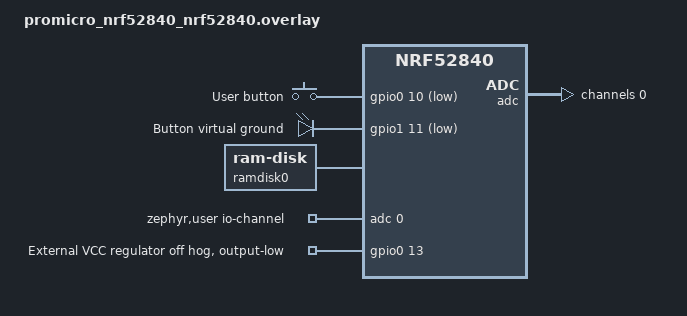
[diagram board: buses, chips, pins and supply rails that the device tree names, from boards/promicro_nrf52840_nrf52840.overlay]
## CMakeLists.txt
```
cmake_minimum_required(VERSION 3.20.0)

find_package(Zephyr REQUIRED HINTS $ENV{ZEPHYR_BASE})
project(totp-token)

if(CONFIG_BUILD_OUTPUT_UF2)
  if(NOT CONFIG_TOTP_SECURITY_BOOTLOADER)
    message(FATAL_ERROR "UF2 requires the security bootloader/provisioning gate.")
  endif()
  if(NOT CONFIG_TOTP_UF2_BENCH AND
     (CONFIG_TOTP_DEBUG OR CONFIG_TOTP_TEST_POLL OR NOT CONFIG_NRF_APPROTECT_LOCK))
    message(FATAL_ERROR "Protected UF2 requires conf/uf2-production.conf.")
  endif()
  set(boot_output ${CMAKE_CURRENT_BINARY_DIR}/security-bootloader)
  set(boot_options)
  if(CONFIG_TOTP_UF2_BENCH)
    list(APPEND boot_options --unlocked)
  endif()
  add_custom_command(
    OUTPUT ${boot_output}/bootloader_payload.S ${boot_output}/bootloader.bin
    BYPRODUCTS ${boot_output}/bootloader.elf ${boot_output}/bootloader.map
      ${boot_output}/bootloader.json
    COMMAND sh ${CMAKE_CURRENT_SOURCE_DIR}/tools/run-limited.sh --seconds 90
      ${PYTHON_EXECUTABLE} ${CMAKE_CURRENT_SOURCE_DIR}/tools/uf2/build_bootloader.py
      --cc ${CMAKE_C_COMPILER} --objcopy ${CMAKE_OBJCOPY}
      --output ${boot_output} ${boot_options}
    DEPENDS tools/uf2/build_bootloader.py tools/run-limited.sh
      bootloader/startup.S bootloader/main.c bootloader/boot.c bootloader/boot.h
      bootloader/factory.c
      bootloader/reset_marker.h
      bootloader/sha256.c bootloader/sha256.h bootloader/svc.S
      bootloader/runtime.c bootloader/linker.ld
    VERBATIM)
  target_include_directories(app PRIVATE bootloader)
  target_sources(app PRIVATE src/uf2_layout.c src/boot_security.c
    bootloader/boot.c bootloader/factory.c bootloader/sha256.c bootloader/svc.S
    ${boot_output}/bootloader_payload.S)
  add_custom_target(totp_validate_uf2 ALL
    COMMAND sh ${CMAKE_CURRENT_SOURCE_DIR}/tools/run-limited.sh
      ${PYTHON_EXECUTABLE}
      ${CMAKE_CURRENT_SOURCE_DIR}/tools/uf2/validate.py
      ${PROJECT_BINARY_DIR}/zephyr/zephyr.uf2
    DEPENDS zephyr_final
    VERBATIM)
endif()

target_sources(app PRIVATE
  src/main.c
  src/keyboard.c
  src/totp.c
  src/usb_msc.c
  src/usb_power_replay.c
  src/config.c
  src/config_fs.c
  src/profiles.c
  src/time.c
  src/button.c
)

zephyr_link_libraries(-Wl,--wrap=nrfx_power_usbevt_init)

if(CONFIG_TOTP_BATTERY_MONITOR)
  target_sources(app PRIVATE src/battery.c)
endif()
```

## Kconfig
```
# Application-specific configuration options.
# The application Kconfig becomes the root; source the Zephyr tree first.

source "Kconfig.zephyr"

config TOTP_UF2_BENCH
	bool "Unprotected UF2 bring-up image (test secrets only)"
	default n
	depends on BUILD_OUTPUT_UF2
	help
	  Installs the SRAM-wiping bootloader but leaves debug protection unlocked
	  for hardware acceptance. Never provision real secrets with this option.

config TOTP_SECURITY_BOOTLOADER
	bool "Install the SRAM-wiping security bootloader before provisioning"
	default y if BUILD_OUTPUT_UF2
	depends on BUILD_OUTPUT_UF2
	help
	  Captures the compatible factory bootloader, installs the independent
	  security bootloader using MBR COPY_BL, and persistently locks SWD.
	  TOTP_UF2_BENCH explicitly disables locking during bench acceptance.

config TOTP_POWER_DIAGNOSTIC
	bool "Quiet idle followed by System OFF (power isolation only)"
	default n
	depends on TOTP_UF2_BENCH
	select POWEROFF
	help
	  After the bootloader verification gate, leave the LED off and sleep
	  for 60 seconds without starting Bluetooth, USB configuration, battery
	  sampling, or button handling, then enter System OFF. No secrets can be
	  provisioned. Reset wakes the board; factory recovery remains available.

config TOTP_USB_PID
	hex "USB product ID (default is private testing only)"
	range 0x0001 0xffff
	default 0x0001
	help
	  The default VID:PID 1209:0001 is the shared pid.codes private-test ID.
	  It is not unique and must not be used for redistributed binaries or
	  manufactured devices. Set an allocated PID before a public release.

config TOTP_TEST_POLL
	bool "Enable SWD button-emulation poll (debug)"
	default y
	help
	  Samples the SWD-settable dbg_force_press flag so button presses can be
	  injected via pyocd without a physical button. This adds a 20 ms periodic
	  poll that defeats the low-power interrupt path. Disable for production.

config TOTP_DEBUG
	bool "Debug hooks: built-in test config + SWD reload"
	default y
	help
	  Enables debug-only facilities: a hardcoded test config with a fixed time
	  (load_test_config) so the device works without a USB config, the
	  dbg_reload_config SWD hook to re-load it, and a longer connect timeout.
	  Disable for production: the device then boots unconfigured and relies on
	  the config.ini written over USB.

config TOTP_MAX_BONDS
	int "Maximum number of RAM-backed host profiles"
	range 1 4
	default 4
	help
	  Sets the number of BLE bonds for which the application reserves a
	  RAM-only secret profile. This must match BT_MAX_PAIRED. Values below four
	  are intended for capacity-limit testing; normal builds use four.

config TOTP_BATTERY_MONITOR
	bool "Battery voltage monitoring (SAADC VDDH/5)"
	default y
	help
	  Samples the battery voltage via the SAADC internal VDDH/5 input (VDDH is
	  the battery rail on this board) and reports it in the config dump. Used to
	  slow code typing when the battery is low as a charge reminder.
```

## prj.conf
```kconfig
# TapShard BLE-HID TOTP token — application configuration

# --- Flash via SWD, no UF2 bootloader ---
CONFIG_BOARD_HAS_NRF5_BOOTLOADER=n

# --- GPIO (LED + button) ---
CONFIG_GPIO=y

# --- Battery monitoring via SAADC VDDH/5 ---
CONFIG_ADC=y
CONFIG_ADC_NRFX_SAADC=y
CONFIG_TOTP_BATTERY_MONITOR=y

# --- Bluetooth ---
CONFIG_BT=y
CONFIG_BT_PERIPHERAL=y
CONFIG_BT_SMP=y
CONFIG_BT_FILTER_ACCEPT_LIST=y
CONFIG_BT_DEVICE_NAME="TapShard TOTP token"
CONFIG_BT_DEVICE_APPEARANCE=961

# --- Bonding persistence (pairing survives reboot) ---
CONFIG_BT_SETTINGS=y
CONFIG_FLASH=y
CONFIG_FLASH_MAP=y
CONFIG_NVS=y
CONFIG_SETTINGS=y

# --- Pairing: Just Works (no MITM/passkey) ---
CONFIG_BT_SMP_ENFORCE_MITM=n
# Allow re-pairing over a stale Just-Works bond (host forgot the device, but
# the device still has the old unauth bond). Without this, re-pairing fails
# with BT_SECURITY_ERR_AUTH_REQUIREMENT ("wrong pin").
CONFIG_BT_SMP_ALLOW_UNAUTH_OVERWRITE=y

# --- SWD button-emulation poll (debug; disabled by default, re-enable for bench
#     testing without a physical button) ---
CONFIG_TOTP_TEST_POLL=y

# --- Debug hooks: built-in test config + SWD reload (disable for production) ---
CONFIG_TOTP_DEBUG=y

# --- Allow re-pairing (bond replacement needs a free key slot) ---
CONFIG_TOTP_MAX_BONDS=4
CONFIG_BT_MAX_PAIRED=4

# --- More ATT/L2CAP TX buffers (HID reports burst; default 3 is too few,
#     and the notify path allocates non-blocking from the sys workqueue) ---
CONFIG_BT_BUF_ACL_TX_COUNT=32
CONFIG_BT_BUF_EVT_RX_COUNT=40
CONFIG_BT_ATT_TX_COUNT=32
CONFIG_BT_L2CAP_TX_BUF_COUNT=32

# --- Stack for settings API + FatFs config reading in workqueue ---
CONFIG_SYSTEM_WORKQUEUE_STACK_SIZE=8192

# --- Power: use low-frequency crystal for BLE (board default is XTAL) ---
# (no override needed; LFXO is the default and is populated on this board)

# --- Crypto for TOTP (HMAC-SHA1 via PSA) ---
CONFIG_PSA_WANT_ALG_SHA_1=y
CONFIG_PSA_WANT_ALG_HMAC=y
CONFIG_PSA_WANT_KEY_TYPE_HMAC=y

# --- System heap (required by mbedtls/PSA crypto allocations) ---
CONFIG_HEAP_MEM_POOL_SIZE=32768

# --- Main thread stack (PSA crypto HMAC is stack-heavy) ---
CONFIG_MAIN_STACK_SIZE=8192

# --- USB Mass Storage (new usbd stack) for config ---
CONFIG_USB_DEVICE_STACK_NEXT=y
CONFIG_USBD_MSC_CLASS=y
CONFIG_DISK_DRIVER_RAM=y

# --- FAT file system (device reads the config) ---
CONFIG_FILE_SYSTEM=y
CONFIG_FAT_FILESYSTEM_ELM=y
CONFIG_FILE_SYSTEM_MKFS=y
CONFIG_FS_FATFS_MKFS=y
# Long filenames so config.ini is stored with its lowercase name (short 8.3
# names are uppercase-only).
CONFIG_FS_FATFS_LFN=y
# Enable file timestamps; get_fattime() (config_fs.c) returns 1980-01-01 so
# device-written files never look like a valid clock anchor.
CONFIG_FS_FATFS_HAS_RTC=y

# --- Disable the board's default CDC-ACM serial backend ---
CONFIG_BOARD_SERIAL_BACKEND_CDC_ACM=n
CONFIG_USBD_CDC_ACM_CLASS=n
CONFIG_CDC_ACM_SERIAL_INITIALIZE_AT_BOOT=n
```

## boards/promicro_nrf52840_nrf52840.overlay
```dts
/*
 * TOTP BLE-HID token — board overlay for promicro_nrf52840
 *
 * The user button is wired between two adjacent GPIOs (no GND at that spot):
 *   - btn_sense : input with internal pull-up (reads LOW when pressed)
 *   - btn_vgnd  : output driven LOW ("virtual ground")
 *
 * Button wiring: P0.10 sense input and P1.11 virtual ground.
 */

/ {
	buttons {
		compatible = "gpio-keys";
		btn0: btn_0 {
			gpios = <&gpio0 10 (GPIO_PULL_UP | GPIO_ACTIVE_LOW)>;
			label = "User button";
		};
	};

	virtual_gnd {
		compatible = "gpio-leds";
		btn_vgnd: btn_vgnd_pin {
			gpios = <&gpio1 11 GPIO_ACTIVE_LOW>;
			label = "Button virtual ground";
		};
	};

	chosen {
		/* Console over UART0 instead of the disabled CDC-ACM. */
		zephyr,console = &uart0;
		zephyr,shell-uart = &uart0;
	};

	/* RAM disk backing the USB Mass Storage config volume (volatile). */
	ramdisk0 {
		compatible = "zephyr,ram-disk";
		disk-name = "RAM";
		sector-size = <512>;
		sector-count = <128>;
	};

	/* Battery voltage via the SAADC internal VDDH/5 input. On this board
	 * VDDH is the battery rail, so VDDH/5 gives the battery voltage (÷5);
	 * it rises toward 5 V while USB is plugged. */
	zephyr,user {
		io-channels = <&adc 0>;
	};
};

&adc {
	#address-cells = <1>;
	#size-cells = <0>;

	channel@0 {
		reg = <0>;
		zephyr,gain = "ADC_GAIN_1_2";
		zephyr,reference = "ADC_REF_INTERNAL";
		zephyr,acquisition-time = <ADC_ACQ_TIME_DEFAULT>;
		zephyr,input-positive = <NRF_SAADC_VDDHDIV5>;
		zephyr,resolution = <14>;
	};
};

/* Button edges must use GPIO SENSE/PORT, not a GPIOTE IN channel which keeps
 * the high-frequency peripheral clock running while the device is idle. */
&gpio0 {
	sense-edge-mask = <0x00000400>; /* P0.10: btn0 sense input. */

	/* P0.13 controls only the external VCC regulator, not the MCU supply.
	 * Its board pull-up otherwise leaves the unused regulator enabled.
	 * Configure it before main(), including diagnostic/System OFF builds.
	 */
	extvcc_off: extvcc-off {
		gpio-hog;
		gpios = <13 GPIO_ACTIVE_HIGH>;
		output-low;
		line-name = "External VCC regulator off";
	};
};

/* Board defaults to a CDC-ACM serial function on the USB device; disable it. */
&board_cdc_acm_uart {
	status = "disabled";
};
```

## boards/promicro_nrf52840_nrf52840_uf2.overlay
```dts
/* Application-only UF2 layout; the existing MBR/S140 are not build outputs. */
#include "promicro_nrf52840_nrf52840.overlay"

/* Public marker uses the final 16 bytes. Zephyr's ARM linker uses KiB units,
 * so exclude the whole final KiB from app allocations/stacks. The independent
 * boot linker excludes only the marker. The wipe still covers all 256 KiB. */
&sram0 {
	reg = <0x20000000 0x3fc00>;
	ranges = <0x0 0x20000000 0x3fc00>;
};

&code_partition {
	reg = <0x26000 0xba000>;
};

&boot_partition {
	reg = <0xf4000 0xa000>;
};

&flash0 {
	partitions {
		factory_backup_partition: partition@e0000 {
			label = "factory-backup";
			reg = <0xe0000 0xc000>;
		};

		mbr_params_partition: partition@fe000 {
			label = "mbr-params";
			reg = <0xfe000 0x1000>;
			read-only;
		};

		boot_settings_partition: partition@ff000 {
			label = "boot-settings";
			reg = <0xff000 0x1000>;
			read-only;
		};
	};
};
```

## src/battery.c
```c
/*
 * Battery voltage monitoring via the SAADC internal VDDH/5 input.
 *
 * On this board (Pro Micro nRF52840 / SuperMini clone) VDDH is the battery
 * rail, so VDDH/5 reflects the battery voltage (÷5). While USB is plugged the
 * charger raises VDDH toward 5 V, so samples are only cached while unplugged;
 * the last on-battery reading is kept for the config dump.
 *
 * A single SAADC sample is a few milliseconds of CPU, so a 10-minute cadence
 * adds a negligible average current to the ~3 uA sleep budget.
 */

#include <string.h>

#include <zephyr/kernel.h>
#include <zephyr/devicetree.h>
#include <zephyr/drivers/adc.h>
#include <zephyr/sys/printk.h>

#include "battery.h"

/* First sample shortly after boot, then every 10 minutes. */
#define BATTERY_FIRST_SAMPLE_MS 5000
#define BATTERY_SAMPLE_MS       (10 * 60 * 1000)
/* Settle time after USB unplug before resampling (VDDH drops from VBUS to the
 * battery rail through the load switch). */
#define BATTERY_RESAMPLE_MS     500

/* Battery-rail divisor baked into the SAADC VDDH/5 input. */
#define VDDH_DIVISOR 5u

static const struct adc_dt_spec battery_adc =
	ADC_DT_SPEC_GET_BY_IDX(DT_PATH(zephyr_user), 0);

static uint32_t battery_mv_cache;
static bool battery_measured;
static bool usb_present;
static uint32_t low_threshold_mv = 3500;

static struct k_work_delayable battery_work;

/* Debug (SWD): raw ADC count and the VDDH/5 input in millivolts of the last
 * sample, taken regardless of USB state so the raw value can be inspected
 * while charging. */
volatile int dbg_battery_raw;
volatile int dbg_battery_input_mv;

static void battery_sample_work(struct k_work *work)
{
	uint32_t buf = 0;
	struct adc_sequence seq = {
		.buffer = &buf,
		.buffer_size = sizeof(buf),
	};

	(void)adc_sequence_init_dt(&battery_adc, &seq);
	if (adc_read_dt(&battery_adc, &seq) == 0) {
		int32_t val_mv = (int32_t)(int16_t)buf;

		dbg_battery_raw = (int)val_mv;
		if (adc_raw_to_millivolts_dt(&battery_adc, &val_mv) == 0) {
			dbg_battery_input_mv = (int)val_mv;
			if (!usb_present) {
				battery_mv_cache =
					(uint32_t)val_mv * VDDH_DIVISOR;
				battery_measured = true;
			}
		}
	}

	k_work_reschedule(&battery_work, K_MSEC(BATTERY_SAMPLE_MS));
}

void battery_set_usb_present(bool present)
{
	usb_present = present;
}

void battery_resample(void)
{
	k_work_reschedule(&battery_work, K_MSEC(BATTERY_RESAMPLE_MS));
}

void battery_set_low_threshold(uint32_t mv)
{
	low_threshold_mv = mv;
}

uint32_t battery_mv(void)
{
	return battery_measured ? battery_mv_cache : 0;
}

bool battery_is_measured(void)
{
	return battery_measured;
}

bool battery_is_low(void)
{
	return battery_measured && battery_mv_cache < low_threshold_mv;
}

void battery_init(void)
{
	if (!adc_is_ready_dt(&battery_adc)) {
		printk("Battery ADC not ready\n");
		return;
	}
	(void)adc_channel_setup_dt(&battery_adc);

	k_work_init_delayable(&battery_work, battery_sample_work);
	k_work_reschedule(&battery_work, K_MSEC(BATTERY_FIRST_SAMPLE_MS));
}
```

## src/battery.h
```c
/* Battery voltage monitoring — public API */

#ifndef BATTERY_H
#define BATTERY_H

#include <stdint.h>
#include <stdbool.h>

/* Initialize and start periodic battery sampling. */
void battery_init(void);

/* Notify of the USB power state: samples taken while USB is present are
 * inflated (VDDH rises toward 5 V), so they are not cached. */
void battery_set_usb_present(bool present);

/* Schedule a fresh sample shortly (used on USB unplug so the cached voltage
 * reflects the battery right away rather than up to one sample interval later). */
void battery_resample(void);

/* Set the low-battery threshold (mV). */
void battery_set_low_threshold(uint32_t mv);

/* Last cached on-battery voltage in mV, or 0 if never measured. */
uint32_t battery_mv(void);

/* True once a valid on-battery sample has been taken. */
bool battery_is_measured(void);

/* True if the battery is measured and below the low threshold. */
bool battery_is_low(void);

#endif /* BATTERY_H */
```

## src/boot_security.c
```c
/* SPDX-License-Identifier: MIT */
#include <stddef.h>
#include <zephyr/kernel.h>

#include "boot_security.h"
#include "boot.h"
#include "sha256.h"

extern const uint8_t totp_boot_payload[BOOT_SIZE];
extern const uint8_t totp_boot_digest[32];

/* Bench observability: 1 layout, 2 backup, 3 MBR copy, 4 active verify,
 * 5 persistent lock, 6 ready. Failures are negative. No secret values. */
volatile int dbg_boot_stage;
#if CONFIG_TOTP_UF2_BENCH
/* Transaction checkpoints for destructive SWD fault injection, bench only. */
volatile int dbg_boot_backup_page;
#define BACKUP_CHECKPOINT(step) (dbg_boot_backup_page = (step))
#else
#define BACKUP_CHECKPOINT(step) do { } while (0)
#endif

static bool capture_factory(void)
{
	struct boot_metadata metadata = {
		.magic = BOOT_META_MAGIC, .version = 1,
		.source = BOOT_START, .length = BOOT_SIZE,
		.valid = UINT32_MAX,
	};
	unsigned int key = irq_lock();
	bool good = boot_flash_erase(BOOT_METADATA);

	BACKUP_CHECKPOINT(0);

	/* Invalidate the old metadata before touching any backup payload page. */
	for (uint32_t offset = 0; good && offset < BOOT_SIZE; offset += BOOT_PAGE) {
		good = boot_flash_erase(BOOT_BACKUP + offset) &&
			boot_flash_write(BOOT_BACKUP + offset,
				(const void *)(BOOT_START + offset), BOOT_PAGE);
		BACKUP_CHECKPOINT(1 + offset / BOOT_PAGE);
	}
	irq_unlock(key);
	if (!good) {
		return false;
	}
	boot_sha256((const void *)BOOT_START, BOOT_SIZE, metadata.sha256);
	/* Check copied bytes against the active image before committing metadata. */
	uint8_t copied_digest[32];

	boot_sha256((const void *)BOOT_BACKUP, BOOT_SIZE, copied_digest);
	if (!boot_factory_valid((const void *)BOOT_BACKUP) ||
	    !boot_equal(copied_digest, metadata.sha256, sizeof(copied_digest))) {
		return false;
	}
	key = irq_lock();
	good = boot_flash_write(BOOT_METADATA, &metadata,
				offsetof(struct boot_metadata, valid));
	BACKUP_CHECKPOINT(11);
	if (good) {
		uint32_t valid = BOOT_META_VALID;

		good = boot_flash_write(BOOT_METADATA +
				offsetof(struct boot_metadata, valid), &valid, sizeof(valid));
		BACKUP_CHECKPOINT(12);
	}
	irq_unlock(key);
	return good && boot_backup_valid();
}

static uint32_t install(void)
{
	/* COPY_BL is entered through the real MBR SVC vector, before the radio or
	 * USB starts. Restore Zephyr's interrupt state if MBR rejects the request. */
	unsigned int key = irq_lock();
	uint32_t vtor = BOOT_REG(0xe000ed08);
	uint32_t forwarding = BOOT_REG(0x20000000);
	uint32_t enabled[2] = { BOOT_REG(0xe000e100), BOOT_REG(0xe000e104) };
	uint32_t systick = BOOT_REG(0xe000e010);

	boot_mbr_prepare();
	uint32_t result = boot_copy((uint32_t)(uintptr_t)totp_boot_payload);

	__asm volatile("cpsid i" ::: "memory");
	BOOT_REG(0xe000ed08) = vtor;
	BOOT_REG(0x20000000) = forwarding;
	BOOT_REG(0xe000e100) = enabled[0];
	BOOT_REG(0xe000e104) = enabled[1];
	BOOT_REG(0xe000e010) = systick;
	__asm volatile("dsb\n isb" ::: "memory");
	irq_unlock(key);
	return result;
}

const char *boot_security_init(void)
{
	uint8_t digest[32];

	dbg_boot_stage = 1;
	BACKUP_CHECKPOINT(-1);
	if (!boot_layout_valid()) {
		dbg_boot_stage = -1;
		return "Unsupported flash/MBR/S140 layout. No secrets accepted.\n";
	}
	if (BOOT_GPREGRET2 == BOOT_RECOVERY_FAILED) {
		BOOT_GPREGRET2 = 0;
		dbg_boot_stage = -2;
		return "Recovery backup is invalid or restore failed. No secrets accepted.\n";
	}
	boot_sha256(totp_boot_payload, BOOT_SIZE, digest);
	if (!boot_equal(digest, totp_boot_digest, sizeof(digest)) ||
	    ((uintptr_t)totp_boot_payload & (BOOT_PAGE - 1))) {
		dbg_boot_stage = -3;
		return "Embedded security bootloader is invalid. No secrets accepted.\n";
	}
	boot_sha256((const void *)BOOT_START, BOOT_SIZE, digest);
	bool installed = boot_equal(digest, totp_boot_digest, sizeof(digest));

	dbg_boot_stage = 2;
	if (!installed && !boot_factory_valid((const void *)BOOT_START)) {
		dbg_boot_stage = -4;
		return "Active bootloader is not a compatible factory image. No secrets accepted.\n";
	}
	bool backup_valid = boot_backup_valid();
	bool capture_needed = !backup_valid ||
		!boot_equal(digest, ((const struct boot_metadata *)BOOT_METADATA)->sha256,
			    sizeof(digest));

	/* If a user updated the factory loader, capture that current image. An
	 * already-installed wiping loader may only use its existing valid backup. */
	if ((installed && !backup_valid) ||
	    (!installed && capture_needed && !capture_factory())) {
		dbg_boot_stage = -5;
		return "Factory backup is invalid. No secrets accepted.\n";
	}
	if (!installed) {
		dbg_boot_stage = 3;
		install(); /* Success restarts through the new bootloader. */
		dbg_boot_stage = -6;
		return "MBR rejected security bootloader installation. No secrets accepted.\n";
	}
	dbg_boot_stage = 4;
#if !CONFIG_TOTP_UF2_BENCH
	dbg_boot_stage = 5;
	if ((BOOT_APPROTECT & 0xffu) != 0) {
		uint32_t locked = BOOT_APPROTECT & ~0xffu;
		unsigned int key = irq_lock();
		bool good = boot_flash_write(0x10001208, &locked, sizeof(locked));

		irq_unlock(key);
		if (!good || (BOOT_APPROTECT & 0xffu) != 0) {
			dbg_boot_stage = -7;
			return "Persistent debug protection failed. No secrets accepted.\n";
		}
		boot_reset(); /* Confirm persistent protection on a fresh boot. */
	}
	boot_force_protect();
#endif
	dbg_boot_stage = 6;
	return NULL;
}
```

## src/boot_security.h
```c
/* SPDX-License-Identifier: MIT */
#ifndef TOTP_BOOT_SECURITY_H
#define TOTP_BOOT_SECURITY_H
/* Run before BLE/USB or any secret provisioning. NULL means ready. */
const char *boot_security_init(void);
#endif
```

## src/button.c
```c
/*
 * Button gesture detection (interrupt-driven, low power).
 *
 * The button is wired between two adjacent GPIOs:
 *   - sense pin (input, pull-up): reads LOW when pressed (shorted to vgnd)
 *   - vgnd pin (output, LOW): the "virtual ground"
 *
 * Gestures:
 *   - press:   stable low edge (calls button_pressed, used to wake the radio)
 *   - click:   short press. N clicks within CLICK_WINDOW_MS -> button_clicked(N)
 *   - long:    held >= LONG_PRESS_MS -> button_long_pressed()
 *
 * The sense pin generates an interrupt on both edges. On an edge we disable
 * the interrupt, wait DEBOUNCE_MS, sample once, commit the change, then re-arm.
 * Between presses the CPU stays asleep; no periodic polling.
 *
 * A compile-time test poll (BUTTON_TEST_POLL) samples a SWD-settable flag
 * (dbg_force_press) so clicks can be injected via pyocd without a physical
 * button. Disable it for production.
 */

#include <zephyr/kernel.h>
#include <zephyr/device.h>
#include <zephyr/drivers/gpio.h>

#include "button.h"

#define DEBOUNCE_MS             20
#define DEFAULT_CLICK_WINDOW_MS 500
#define DEFAULT_LONG_PRESS_MS   3000

#define BTN_NODE   DT_NODELABEL(btn0)
#define VGND_NODE  DT_NODELABEL(btn_vgnd)

BUILD_ASSERT(DT_PROP_OR(DT_GPIO_CTLR(BTN_NODE, gpios), sense_edge_mask, 0) &
	     BIT(DT_GPIO_PIN(BTN_NODE, gpios)),
	     "Button input must use GPIO SENSE for low-power edge detection");

static const struct gpio_dt_spec btn = GPIO_DT_SPEC_GET(BTN_NODE, gpios);
static const struct gpio_dt_spec vgnd = GPIO_DT_SPEC_GET(VGND_NODE, gpios);

static struct gpio_callback btn_cb;
static struct k_work_delayable debounce_work;
static struct k_work_delayable long_press_work;
static struct k_work_delayable click_window_work;
#if IS_ENABLED(CONFIG_TOTP_TEST_POLL)
static struct k_work_delayable test_poll_work;
#endif
static bool pressed;
static bool long_press_reported;
static int click_count;
static bool pairing;
static uint32_t click_window_ms = DEFAULT_CLICK_WINDOW_MS;
static uint32_t long_press_ms = DEFAULT_LONG_PRESS_MS;

/* Debug counters (inspected via SWD). */
volatile int dbg_press;
volatile int dbg_release;
volatile int dbg_longpress;
volatile int dbg_clickwindow;

/* SWD-triggerable button emulation: non-zero forces "pressed". */
volatile int dbg_force_press;

static void click_window_handler(struct k_work *work)
{
	int count = click_count;

	click_count = 0;
	dbg_clickwindow++;
	button_clicked(count);
}

static void long_press_handler(struct k_work *work)
{
	if (pressed) {
		click_count = 0;
		k_work_cancel_delayable(&click_window_work);
		long_press_reported = true;
		dbg_longpress++;
		button_long_pressed();
	}
}

static void process_press(void)
{
	dbg_press++;
	long_press_reported = false;
	/* Do not finalize earlier short clicks while this press may still become
	 * a long press. A short release below reschedules the window. */
	k_work_cancel_delayable(&click_window_work);
	k_work_reschedule(&long_press_work, K_MSEC(long_press_ms));
	button_pressed();
}

static void process_release(void)
{
	dbg_release++;
	k_work_cancel_delayable(&long_press_work);

	if (long_press_reported) {
		return;
	}

	if (pairing) {
		/* Immediate cancel, no click-window wait. */
		button_clicked(1);
	} else {
		click_count++;
		k_work_reschedule(&click_window_work, K_MSEC(click_window_ms));
	}
}

/* Commit a stable state change (used by both the ISR and test-poll paths). */
static void commit_change(bool now_pressed)
{
	if (now_pressed == pressed) {
		return;
	}
	pressed = now_pressed;

	if (now_pressed) {
		process_press();
	} else {
		process_release();
	}
}

static void debounce_handler(struct k_work *work)
{
	bool now_pressed = (gpio_pin_get_raw(btn.port, btn.pin) == 0);

	commit_change(now_pressed);

	/* Re-arm for the next edge. */
	gpio_pin_interrupt_configure_dt(&btn, GPIO_INT_EDGE_BOTH);
}

static void btn_isr(const struct device *dev, struct gpio_callback *cb,
		    uint32_t pins)
{
	/* Disable the interrupt until the state change is committed. */
	gpio_pin_interrupt_configure_dt(&btn, GPIO_INT_DISABLE);
	k_work_reschedule(&debounce_work, K_MSEC(DEBOUNCE_MS));
}

#if IS_ENABLED(CONFIG_TOTP_TEST_POLL)
static void test_poll_handler(struct k_work *work)
{
	bool now_pressed = (gpio_pin_get_raw(btn.port, btn.pin) == 0);

	if (dbg_force_press) {
		now_pressed = true;
	}
	commit_change(now_pressed);

	k_work_reschedule(&test_poll_work, K_MSEC(DEBOUNCE_MS));
}
#endif

void button_set_pairing(bool p)
{
	pairing = p;
	if (p) {
		/* A long press may begin after one or more short releases. Those
		 * clicks belong to the abandoned normal-mode gesture and must not
		 * later cancel the newly entered pairing mode. */
		click_count = 0;
		k_work_cancel_delayable(&click_window_work);
	}
}

void button_set_timings(uint32_t click_window, uint32_t long_press)
{
	if (click_window > 0) {
		click_window_ms = click_window;
	}
	if (long_press > 0) {
		long_press_ms = long_press;
	}
}

void button_init(void)
{
	if (!gpio_is_ready_dt(&vgnd)) {
		return;
	}
	gpio_pin_configure_dt(&vgnd, GPIO_OUTPUT_LOW);

	if (!gpio_is_ready_dt(&btn)) {
		return;
	}
	gpio_pin_configure_dt(&btn, GPIO_INPUT);

	k_work_init_delayable(&debounce_work, debounce_handler);
	k_work_init_delayable(&long_press_work, long_press_handler);
	k_work_init_delayable(&click_window_work, click_window_handler);

	gpio_init_callback(&btn_cb, btn_isr, BIT(btn.pin));
	gpio_add_callback(btn.port, &btn_cb);
	gpio_pin_interrupt_configure_dt(&btn, GPIO_INT_EDGE_BOTH);

#if IS_ENABLED(CONFIG_TOTP_TEST_POLL)
	k_work_init_delayable(&test_poll_work, test_poll_handler);
	k_work_reschedule(&test_poll_work, K_MSEC(DEBOUNCE_MS));
#endif
}
```

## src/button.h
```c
/* Button gesture detection — public API */

#ifndef BUTTON_H
#define BUTTON_H

#include <stdint.h>

/* Initialize the button (virtual-ground + sense pins, interrupts, timers). */
void button_init(void);

/*
 * Called (from workqueue context) when a stable press is detected.
 * Implemented by the application. Used to wake the radio early.
 */
void button_pressed(void);

/*
 * Called (from workqueue context) when a click sequence completes.
 * @count is the number of clicks in the click window.
 * Implemented by the application.
 */
void button_clicked(int count);

/*
 * Called (from workqueue context) when a long press is detected.
 * Implemented by the application.
 */
void button_long_pressed(void);

/* Notify the button module of the pairing state (so a short press in
 * pairing mode cancels immediately instead of waiting for the click window). */
void button_set_pairing(bool pairing);

/* Set the gesture timings (click window and long-press hold, in ms). Values of
 * 0 leave the current value unchanged. */
void button_set_timings(uint32_t click_window_ms, uint32_t long_press_ms);

#endif /* BUTTON_H */
```

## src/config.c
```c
/*
 * Config parser (INI-style).
 *
 * Format:
 *
 *   # device-wide settings (all optional)
 *   [device]
 *   timezone = +7
 *   conn_settle_time = 600ms
 *   inter_key_time = 80ms
 *
 *   # one or more TOTP accounts; "name" is an optional label
 *   [account]
 *   name = github
 *   secret = JBSWY3DPEHPK3PXP
 *   digits = 6
 *   period = 30
 *   enter = false
 *
 * Key names are case-insensitive; '#' and ';' start comments (full-line or
 * trailing). Missing keys fall back to sensible defaults. A [account] without
 * a valid secret is a parse error.
 */

#include <ctype.h>
#include <stdio.h>
#include <string.h>
#include <stdbool.h>
#include <zephyr/sys/util.h>

#include "config.h"
#include "totp.h"
#include "secure_zero.h"

#define DEFAULT_SETTLE_MS    200
#define DEFAULT_INTER_KEY_MS 60
#define DEFAULT_DIGITS       6
#define DEFAULT_PERIOD       30
#define DEFAULT_LONG_PRESS_MS    3000
#define DEFAULT_CLICK_WINDOW_MS  500
#define DEFAULT_GRACE_MS         2000
#define DEFAULT_LOW_BATTERY_MV   3500

#define MAX_SETTLE_MS            60000U
#define MIN_INTER_KEY_MS         1U
#define MAX_INTER_KEY_MS         5000U
#define MIN_LONG_PRESS_MS        250U
#define MAX_LONG_PRESS_MS        60000U
#define MIN_CLICK_WINDOW_MS      50U
#define MAX_CLICK_WINDOW_MS      5000U
#define MAX_GRACE_MS             300000U
#define MIN_LOW_BATTERY_MV       1000U
#define MAX_LOW_BATTERY_MV       5500U
#define MAX_PERIOD_S             86400U
#define MAX_DRIFT_PPM            500

/* Max value length (a base32 secret for a 64-byte key is ~103 chars). */
#define CONFIG_VALUE_MAX     128

/* Reason for the last config_parse() failure ("" if none). */
char config_err_msg[80];

static int parse_err(const char *msg)
{
	strncpy(config_err_msg, msg, sizeof(config_err_msg) - 1);
	config_err_msg[sizeof(config_err_msg) - 1] = '\0';
	return -1;
}

static int parse_err_key(const char *section, const char *key)
{
	snprintf(config_err_msg, sizeof(config_err_msg),
		 "unknown [%s] key '%s'", section, key);
	return -1;
}

/* Parse one or more decimal digits and stop at the first non-digit. */
static int parse_uint_prefix(const char **cursor, uint32_t *out)
{
	const char *p = *cursor;
	uint32_t v = 0;

	if (!isdigit((unsigned char)*p)) {
		return -1;
	}
	while (isdigit((unsigned char)*p)) {
		uint32_t digit = (uint32_t)(*p - '0');

		if (v > (UINT32_MAX - digit) / 10U) {
			return -1;
		}
		v = v * 10U + digit;
		p++;
	}
	*cursor = p;
	*out = v;
	return 0;
}

int config_parse_utc_offset(const char *s, int32_t *minutes)
{
	const char *p = s;
	int sign = 1;
	uint32_t hours;
	uint32_t mins = 0;

	if (*p == '+') {
		sign = 1;
		p++;
	} else if (*p == '-') {
		sign = -1;
		p++;
	}

	if (parse_uint_prefix(&p, &hours) != 0) {
		return -1;
	}

	if (*p == ':') {
		p++;
		if (parse_uint_prefix(&p, &mins) != 0) {
			return -1;
		}
	}

	if (*p != '\0' || mins >= 60 || hours > 24 ||
	    (hours == 24 && mins != 0)) {
		return -1;
	}

	*minutes = sign * (int32_t)(hours * 60U + mins);
	return 0;
}

int config_parse_duration(const char *s, uint32_t *ms)
{
	const char *p = s;
	uint32_t v;

	if (parse_uint_prefix(&p, &v) != 0) {
		return -1;
	}

	if (*p == '\0' || strcmp(p, "ms") == 0) {
		*ms = v;
		return 0;
	}
	if (strcmp(p, "s") == 0) {
		if (v > UINT32_MAX / 1000U) {
			return -1;
		}
		*ms = v * 1000U;
		return 0;
	}
	return -1;
}

int config_parse_bool(const char *s, bool *value)
{
	if (strcmp(s, "true") == 0 || strcmp(s, "yes") == 0 ||
	    strcmp(s, "on") == 0 || strcmp(s, "1") == 0) {
		*value = true;
		return 0;
	}
	if (strcmp(s, "false") == 0 || strcmp(s, "no") == 0 ||
	    strcmp(s, "off") == 0 || strcmp(s, "0") == 0) {
		*value = false;
		return 0;
	}
	return -1;
}

static int parse_uint(const char *s, uint32_t *out)
{
	const char *p = s;
	uint32_t v;

	if (parse_uint_prefix(&p, &v) != 0 || *p != '\0') {
		return -1;
	}
	*out = v;
	return 0;
}

static int parse_int(const char *s, int32_t *out)
{
	const char *p = s;
	int sign = 1;
	uint32_t v = 0;

	if (*p == '-') {
		sign = -1;
		p++;
	} else if (*p == '+') {
		p++;
	}
	if (parse_uint(p, &v) != 0) {
		return -1;
	}
	if ((sign > 0 && v > INT32_MAX) ||
	    (sign < 0 && v > (uint32_t)INT32_MAX + 1U)) {
		return -1;
	}
	if (sign < 0 && v == (uint32_t)INT32_MAX + 1U) {
		*out = INT32_MIN;
	} else {
		*out = sign * (int32_t)v;
	}
	return 0;
}

static int parse_hex64(const char *s, uint64_t *out)
{
	uint64_t value = 0;
	int i;

	if (strlen(s) != 16) {
		return -1;
	}
	for (i = 0; i < 16; i++) {
		unsigned char c = (unsigned char)s[i];
		uint8_t digit;

		if (c >= '0' && c <= '9') {
			digit = c - '0';
		} else if (c >= 'a' && c <= 'f') {
			digit = c - 'a' + 10;
		} else if (c >= 'A' && c <= 'F') {
			digit = c - 'A' + 10;
		} else {
			return -1;
		}
		value = (value << 4) | digit;
	}
	*out = value;
	return 0;
}

static int ascii_lower(int c)
{
	if (c >= 'A' && c <= 'Z') {
		return c + ('a' - 'A');
	}
	return c;
}

/* Case-insensitive compare of a bounded [start,end) span against a literal. */
static bool span_is(const char *start, const char *end, const char *lit)
{
	size_t n = (size_t)(end - start);

	if (strlen(lit) != n) {
		return false;
	}
	while (n--) {
		if (ascii_lower((unsigned char)*start) !=
		    ascii_lower((unsigned char)*lit)) {
			return false;
		}
		start++;
		lit++;
	}
	return true;
}

static int parse_bond_ref(const char *s, uint8_t *ref)
{
	uint32_t value;

	if (strlen(s) < 6 || !span_is(s, s + 5, "bond_") ||
	    parse_uint(s + 5, &value) != 0 || value == 0 ||
	    value > CONFIG_TOTP_MAX_BONDS) {
		return -1;
	}
	*ref = (uint8_t)value;
	return 0;
}

void config_device_defaults(struct totp_device *device)
{
	memset(device, 0, sizeof(*device));
	device->settle_ms = DEFAULT_SETTLE_MS;
	device->inter_key_ms = DEFAULT_INTER_KEY_MS;
	device->long_press_ms = DEFAULT_LONG_PRESS_MS;
	device->click_window_ms = DEFAULT_CLICK_WINDOW_MS;
	device->grace_ms = DEFAULT_GRACE_MS;
	device->low_battery_mv = DEFAULT_LOW_BATTERY_MV;
}

/* Copy the trimmed span [start,end) into out without silent truncation. */
static int copy_trimmed(char *out, size_t out_size,
			const char *start, const char *end)
{
	while (start < end && isspace((unsigned char)*start)) {
		start++;
	}
	while (end > start && isspace((unsigned char)end[-1])) {
		end--;
	}
	if ((size_t)(end - start) >= out_size) {
		return -1;
	}
	memcpy(out, start, (size_t)(end - start));
	out[end - start] = '\0';
	return 0;
}

int config_parse(const char *buf, size_t len, struct totp_config *cfg)
{
	enum { SEC_NONE, SEC_DEVICE, SEC_ACCOUNT } section = SEC_NONE;
	const char *p = buf;
	const char *end = buf + len;
	bool secret_seen[CONFIG_MAX_SLOTS] = { false };
	int i;

	secure_zero(cfg, sizeof(*cfg));
	config_device_defaults(&cfg->device);
	config_err_msg[0] = '\0';

	while (p < end) {
		const char *line = p;
		const char *line_end;
		char key[CONFIG_NAME_MAX];
		char val[CONFIG_VALUE_MAX];
		struct totp_slot *slot;

#define FAIL_PARSE(message) do { \
	int fail_err = parse_err(message); \
	secure_zero(key, sizeof(key)); \
	secure_zero(val, sizeof(val)); \
	return fail_err; \
} while (0)
#define FAIL_PARSE_KEY(section_name, key_name) do { \
	int fail_err = parse_err_key(section_name, key_name); \
	secure_zero(key, sizeof(key)); \
	secure_zero(val, sizeof(val)); \
	return fail_err; \
} while (0)

		while (p < end && *p != '\n') {
			p++;
		}
		line_end = p;
		if (p < end) {
			p++; /* skip '\n' */
		}
		if (line_end > line && line_end[-1] == '\r') {
			line_end--;
		}

		while (line < line_end && isspace((unsigned char)*line)) {
			line++;
		}

		/* Blank or comment. */
		if (line >= line_end || *line == '#' || *line == ';') {
			continue;
		}

		/* Section header. */
		if (*line == '[') {
			const char *name = line + 1;
			const char *name_end = name;

			while (name_end < line_end && *name_end != ']') {
				name_end++;
			}
			if (name_end >= line_end) {
				FAIL_PARSE("unterminated [section]");
			}

			if (span_is(name, name_end, "device")) {
				section = SEC_DEVICE;
			} else if (span_is(name, name_end, "account")) {
				if (cfg->slot_count >= CONFIG_MAX_SLOTS) {
					FAIL_PARSE("too many accounts");
				}
				slot = &cfg->slots[cfg->slot_count];
				memset(slot, 0, sizeof(*slot));
				slot->digits = DEFAULT_DIGITS;
				slot->period = DEFAULT_PERIOD;
				slot->enter = false;
				snprintf(slot->name, sizeof(slot->name),
					 "account%d", cfg->slot_count + 1);
				cfg->slot_count++;
				section = SEC_ACCOUNT;
			} else {
				FAIL_PARSE("unknown section");
			}
			continue;
		}

		/* key = value. Locate a trailing comment before copying the value,
		 * so long descriptive comments do not consume the value buffer. */
		{
			const char *eq = line;
			const char *value_end;

			while (eq < line_end && *eq != '=') {
				eq++;
			}
			if (eq >= line_end) {
				FAIL_PARSE("line without '='");
			}
			if (copy_trimmed(key, sizeof(key), line, eq) != 0) {
				FAIL_PARSE("config key is too long");
			}
			value_end = eq + 1;
			while (value_end < line_end && *value_end != '#' &&
			       *value_end != ';') {
				value_end++;
			}
			if (copy_trimmed(val, sizeof(val), eq + 1, value_end) != 0) {
				FAIL_PARSE("config value is too long");
			}
		}

		switch (section) {
		case SEC_DEVICE:
			if (span_is(key, key + strlen(key), "timezone")) {
				if (config_parse_utc_offset(val,
						&cfg->device.timezone_min) != 0) {
					FAIL_PARSE("bad timezone value");
				}
			} else if (span_is(key, key + strlen(key),
					   "bond_snapshot")) {
				if (cfg->have_bond_snapshot ||
				    parse_hex64(val, &cfg->bond_snapshot) != 0) {
					FAIL_PARSE("bad or duplicate bond_snapshot");
				}
				cfg->have_bond_snapshot = true;
			} else if (span_is(key, key + strlen(key),
					   "edit_bonds")) {
				if (cfg->have_edit_bonds ||
				    config_parse_bool(val, &cfg->edit_bonds) != 0) {
					FAIL_PARSE("bad or duplicate edit_bonds");
				}
				cfg->have_edit_bonds = true;
			} else if (span_is(key, key + strlen(key), "keep_bond")) {
				uint8_t ref;

				if (parse_bond_ref(val, &ref) != 0 ||
				    (cfg->keep_bonds & BIT(ref - 1)) != 0) {
					FAIL_PARSE("bad or duplicate keep_bond");
				}
				cfg->keep_bonds |= BIT(ref - 1);
			} else if (span_is(key, key + strlen(key), "host_id")) {
				if (cfg->have_host_id ||
				    parse_bond_ref(val, &cfg->host_id) != 0) {
					FAIL_PARSE("bad host_id");
				}
				cfg->have_host_id = true;
			} else if (span_is(key, key + strlen(key),
					   "conn_settle_time")) {
				if (config_parse_duration(val,
						&cfg->device.settle_ms) != 0 ||
				    cfg->device.settle_ms > MAX_SETTLE_MS) {
					FAIL_PARSE("bad conn_settle_time");
				}
			} else if (span_is(key, key + strlen(key),
					   "inter_key_time")) {
				if (config_parse_duration(val,
						&cfg->device.inter_key_ms) != 0 ||
				    cfg->device.inter_key_ms < MIN_INTER_KEY_MS ||
				    cfg->device.inter_key_ms > MAX_INTER_KEY_MS) {
					FAIL_PARSE("bad inter_key_time");
				}
			} else if (span_is(key, key + strlen(key), "drift_ppm")) {
				if (parse_int(val, &cfg->device.drift_ppm) != 0 ||
				    cfg->device.drift_ppm < -MAX_DRIFT_PPM ||
				    cfg->device.drift_ppm > MAX_DRIFT_PPM) {
					FAIL_PARSE("bad drift_ppm");
				}
			} else if (span_is(key, key + strlen(key),
					   "long_press_ms")) {
				if (config_parse_duration(val,
						&cfg->device.long_press_ms) != 0 ||
				    cfg->device.long_press_ms < MIN_LONG_PRESS_MS ||
				    cfg->device.long_press_ms > MAX_LONG_PRESS_MS) {
					FAIL_PARSE("bad long_press_ms");
				}
			} else if (span_is(key, key + strlen(key),
					   "click_window_ms")) {
				if (config_parse_duration(val,
						&cfg->device.click_window_ms) != 0 ||
				    cfg->device.click_window_ms < MIN_CLICK_WINDOW_MS ||
				    cfg->device.click_window_ms > MAX_CLICK_WINDOW_MS) {
					FAIL_PARSE("bad click_window_ms");
				}
			} else if (span_is(key, key + strlen(key), "grace_ms")) {
				if (config_parse_duration(val,
						&cfg->device.grace_ms) != 0 ||
				    cfg->device.grace_ms > MAX_GRACE_MS) {
					FAIL_PARSE("bad grace_ms");
				}
			} else if (span_is(key, key + strlen(key),
					   "low_battery_mv")) {
				if (parse_uint(val, &cfg->device.low_battery_mv) != 0 ||
				    cfg->device.low_battery_mv < MIN_LOW_BATTERY_MV ||
				    cfg->device.low_battery_mv > MAX_LOW_BATTERY_MV) {
					FAIL_PARSE("bad low_battery_mv");
				}
			} else {
				FAIL_PARSE_KEY("device", key);
			}
			break;
		case SEC_ACCOUNT:
			slot = &cfg->slots[cfg->slot_count - 1];
			if (span_is(key, key + strlen(key), "name")) {
				if (strlen(val) >= sizeof(slot->name)) {
					FAIL_PARSE("account name is too long");
				}
				strcpy(slot->name, val);
			} else if (span_is(key, key + strlen(key), "secret")) {
				if (secret_seen[cfg->slot_count - 1]) {
					FAIL_PARSE("duplicate account secret");
				}
				secret_seen[cfg->slot_count - 1] = true;
				if (span_is(val, val + strlen(val), "keep")) {
					FAIL_PARSE("bare secret keep is not allowed");
				} else if (strlen(val) >= 5 &&
					   span_is(val, val + 5, "keep:")) {
					uint32_t ref;

					if (parse_uint(val + 5, &ref) != 0 || ref == 0 ||
					    ref > CONFIG_MAX_SLOTS) {
						FAIL_PARSE("bad secret keep reference");
					}
					slot->secret_ref = (uint8_t)ref;
				} else if (span_is(val, val + strlen(val),
						   "error")) {
					slot->secret_error = true;
				} else {
					uint8_t decoded[64];
					int dlen = base32_decode(val, decoded,
								 sizeof(decoded));

					if (dlen <= 0) {
						secure_zero(decoded, sizeof(decoded));
						FAIL_PARSE("bad or empty secret");
					}
					memcpy(slot->secret, decoded, (size_t)dlen);
					slot->secret_len = (size_t)dlen;
					secure_zero(decoded, sizeof(decoded));
				}
			} else if (span_is(key, key + strlen(key), "digits")) {
				uint32_t d;

				if (parse_uint(val, &d) != 0 || d == 0 || d > 9) {
					FAIL_PARSE("bad digits (must be 1-9)");
				}
				slot->digits = (uint8_t)d;
			} else if (span_is(key, key + strlen(key), "period")) {
				uint32_t pr;

				if (parse_uint(val, &pr) != 0 || pr == 0 ||
				    pr > MAX_PERIOD_S) {
					FAIL_PARSE("bad period");
				}
				slot->period = pr;
			} else if (span_is(key, key + strlen(key), "enter")) {
				if (config_parse_bool(val, &slot->enter) != 0) {
					FAIL_PARSE("bad enter (true/false)");
				}
			} else {
				FAIL_PARSE_KEY("account", key);
			}
			break;
		default:
			/* key outside any section */
			FAIL_PARSE("key outside any section");
		}
		secure_zero(key, sizeof(key));
		secure_zero(val, sizeof(val));
	}

#undef FAIL_PARSE
#undef FAIL_PARSE_KEY

	/* Every account must have a secret (or a keep/error placeholder). */
	for (i = 0; i < cfg->slot_count; i++) {
		if (cfg->slots[i].secret_len == 0 &&
		    cfg->slots[i].secret_ref == 0 && !cfg->slots[i].secret_error) {
			return parse_err("account missing secret");
		}
	}

	return 0;
}

int config_selftest(void)
{
#if CONFIG_TOTP_MAX_BONDS >= 2
	static const char text[] =
		"# device\n"
		"[device]\n"
		"timezone = +3:30\n"
		"bond_snapshot = 7c19e2a4d6314f08 # a deliberately long "
		"descriptive comment that exceeds the value buffer without "
		"affecting parsing\n"
		"edit_bonds = false\n"
		"keep_bond = bond_1\n"
		"keep_bond = bond_2\n"
		"host_id = bond_2\n"
		"conn_settle_time = 600ms\n"
		"inter_key_time = 80ms\n"
		"drift_ppm = -25\n"
		"long_press_ms = 2s\n"
		"click_window_ms = 400\n"
		"grace_ms = 1s\n"
		"low_battery_mv = 2200\n"
		"\n"
		"[account]\n"
		"name = Google\n"
		"secret = GEZDGNBVGY3TQOJQGEZDGNBVGY3TQOJQ\n"
		"digits = 6\n"
		"period = 30\n"
		"enter = false\n"
		"\n"
		"[account]\n"
		"secret = GEZDGNBVGY3TQOJQGEZDGNBVGY3TQOJQ\n"
		"digits = 8\n"
		"period = 60\n"
		"\n";
#define EXPECTED_KEEP_BONDS (BIT(0) | BIT(1))
#define EXPECTED_HOST_ID 2
#else
	static const char text[] =
		"# device\n"
		"[device]\n"
		"timezone = +3:30\n"
		"bond_snapshot = 7c19e2a4d6314f08 # a deliberately long "
		"descriptive comment that exceeds the value buffer without "
		"affecting parsing\n"
		"edit_bonds = false\n"
		"keep_bond = bond_1\n"
		"host_id = bond_1\n"
		"conn_settle_time = 600ms\n"
		"inter_key_time = 80ms\n"
		"drift_ppm = -25\n"
		"long_press_ms = 2s\n"
		"click_window_ms = 400\n"
		"grace_ms = 1s\n"
		"low_battery_mv = 2200\n"
		"\n"
		"[account]\n"
		"name = Google\n"
		"secret = GEZDGNBVGY3TQOJQGEZDGNBVGY3TQOJQ\n"
		"digits = 6\n"
		"period = 30\n"
		"enter = false\n"
		"\n"
		"[account]\n"
		"secret = GEZDGNBVGY3TQOJQGEZDGNBVGY3TQOJQ\n"
		"digits = 8\n"
		"period = 60\n"
		"\n";
#define EXPECTED_KEEP_BONDS BIT(0)
#define EXPECTED_HOST_ID 1
#endif
	static const char keep_text[] =
		"[account]\n"
		"secret = keep:2\n"
		"\n"
		"[account]\n"
		"secret = error\n"
		"\n";
	static const char bare_keep_text[] =
		"[account]\n"
		"secret = keep\n";
	static const char out_of_range_text[] =
		"[device]\n"
		"inter_key_time = 0\n";
	static const char duplicate_bond_text[] =
		"[device]\n"
		"keep_bond = bond_1\n"
		"keep_bond = bond_1\n";
	static const char bad_snapshot_text[] =
		"[device]\n"
		"bond_snapshot = 1234\n";
	struct totp_config cfg;
	int32_t off;
	uint32_t ms;
	bool b;

	if (config_parse_utc_offset("+3", &off) != 0 || off != 180) {
		return -1;
	}
	if (config_parse_utc_offset("-5", &off) != 0 || off != -300) {
		return -1;
	}
	if (config_parse_utc_offset("-4:45", &off) != 0 || off != -285) {
		return -1;
	}
	if (config_parse_utc_offset("+3:30", &off) != 0 || off != 210) {
		return -1;
	}
	if (config_parse_utc_offset("+24:01", &off) == 0 ||
	    config_parse_utc_offset("999999999999", &off) == 0) {
		return -1;
	}

	if (config_parse_duration("600ms", &ms) != 0 || ms != 600) {
		return -1;
	}
	if (config_parse_duration("2s", &ms) != 0 || ms != 2000) {
		return -1;
	}
	if (config_parse_duration("500", &ms) != 0 || ms != 500) {
		return -1;
	}
	if (config_parse_duration("1x", &ms) == 0) {
		return -1; /* should fail */
	}
	if (config_parse_duration("4294967296", &ms) == 0 ||
	    config_parse_duration("4294968s", &ms) == 0) {
		return -1;
	}

	if (config_parse_bool("false", &b) != 0 || b != false) {
		return -1;
	}
	if (config_parse_bool("yes", &b) != 0 || b != true) {
		return -1;
	}
	if (config_parse_bool("1", &b) != 0 || b != true) {
		return -1;
	}
	if (config_parse_bool("maybe", &b) == 0) {
		return -1; /* should fail */
	}

	if (config_parse(text, sizeof(text) - 1, &cfg) != 0) {
		return -1;
	}
	if (cfg.device.timezone_min != 210) {
		return -1;
	}
	if (!cfg.have_bond_snapshot ||
	    cfg.bond_snapshot != 0x7c19e2a4d6314f08ULL ||
	    !cfg.have_edit_bonds || cfg.edit_bonds ||
	    cfg.keep_bonds != EXPECTED_KEEP_BONDS ||
	    !cfg.have_host_id || cfg.host_id != EXPECTED_HOST_ID) {
		return -1;
	}
	if (cfg.device.settle_ms != 600) {
		return -1;
	}
	if (cfg.device.inter_key_ms != 80) {
		return -1;
	}
	if (cfg.device.drift_ppm != -25) {
		return -1;
	}
	if (cfg.device.long_press_ms != 2000) {
		return -1;
	}
	if (cfg.device.click_window_ms != 400) {
		return -1;
	}
	if (cfg.device.grace_ms != 1000) {
		return -1;
	}
	if (cfg.device.low_battery_mv != 2200) {
		return -1;
	}
	if (cfg.slot_count != 2) {
		return -1;
	}
	if (strcmp(cfg.slots[0].name, "Google") != 0 ||
	    cfg.slots[0].digits != 6 || cfg.slots[0].period != 30 ||
	    cfg.slots[0].enter != false ||
	    cfg.slots[0].secret_len != 20) {
		return -1;
	}
	if (strcmp(cfg.slots[1].name, "account2") != 0 ||
	    cfg.slots[1].digits != 8 || cfg.slots[1].period != 60 ||
	    cfg.slots[1].enter != false ||
	    cfg.slots[1].secret_len != 20) {
		return -1;
	}

	/* "keep" / "error" secret placeholders parse without a real secret. */
	if (config_parse(keep_text, sizeof(keep_text) - 1, &cfg) != 0) {
		return -1;
	}
	if (cfg.slot_count != 2 ||
	    cfg.slots[0].secret_ref != 2 || cfg.slots[0].secret_len != 0 ||
	    !cfg.slots[1].secret_error || cfg.slots[1].secret_len != 0) {
		return -1;
	}
	if (config_parse(bare_keep_text, sizeof(bare_keep_text) - 1, &cfg) == 0 ||
	    config_parse(out_of_range_text, sizeof(out_of_range_text) - 1,
			 &cfg) == 0 ||
	    config_parse(duplicate_bond_text, sizeof(duplicate_bond_text) - 1,
			 &cfg) == 0 ||
	    config_parse(bad_snapshot_text, sizeof(bad_snapshot_text) - 1,
			 &cfg) == 0) {
		return -1;
	}

#undef EXPECTED_KEEP_BONDS
#undef EXPECTED_HOST_ID

	return 0;
}
```

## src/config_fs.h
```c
/* Config file reading from the FAT volume — public API */

#ifndef CONFIG_FS_H
#define CONFIG_FS_H

#include <stdint.h>
#include "config.h"

#define CONFIG_FS_TEXT_SIZE       8192
#define CONFIG_FS_ANCHOR_NAME_MAX 64

/* A host-written regular file that differs from the root-directory snapshot
 * taken before USB enumeration. The timestamp is in the host-local FAT time
 * scale; timezone conversion belongs at TOTP generation time. */
struct config_fs_change {
	uint64_t mtime;
	uint64_t name_hash;
	uint32_t size;
	char name[CONFIG_FS_ANCHOR_NAME_MAX];
};

/* Read config.ini from the RAM disk FAT volume.
 * On success fills @cfg. Returns 0 on success, -ENOENT if the file is
 * absent, -EFBIG if it is at least CONFIG_FS_TEXT_SIZE bytes, -EINVAL if it
 * fails to parse, -EAGAIN if it changes during the read, or -EIO on a media
 * error. */
int config_fs_read(struct totp_config *cfg);

/* Read config.ini only after the same {existence, mtime, size, content hash}
 * has been observed twice. The first/new observation returns -EAGAIN; a
 * confirmed absence returns -ENOENT. */
int config_fs_read_stable(struct totp_config *cfg);
void config_fs_stable_reset(void);

/* Capture the device-generated root directory before USB enumeration, then
 * find the newest regular file that is new or changed relative to it. */
int config_fs_capture_baseline(void);
int config_fs_latest_session_change(struct config_fs_change *change);

/* Unmount, erase every physical RAM-disk sector, and create a fresh FAT
 * filesystem. All file contents and in-module read buffers are cleared. */
int config_fs_wipe(void);

/* Write the given text (NUL-terminated) to config.ini on the RAM disk,
 * overwriting any previous file. Returns 0 on success, -EIO on a media error. */
int config_fs_write_config(const char *text);

/* Write a diagnostic message to log.txt on the RAM disk. */
int config_fs_log(const char *msg);

/* Convert FAT date/time (fdate/ftime) to Unix seconds (local time). */
uint64_t fat_time_to_unix(uint16_t fdate, uint16_t ftime);

/* Self-test. Returns 0 on success. */
int config_fs_selftest(void);

#endif /* CONFIG_FS_H */
```
